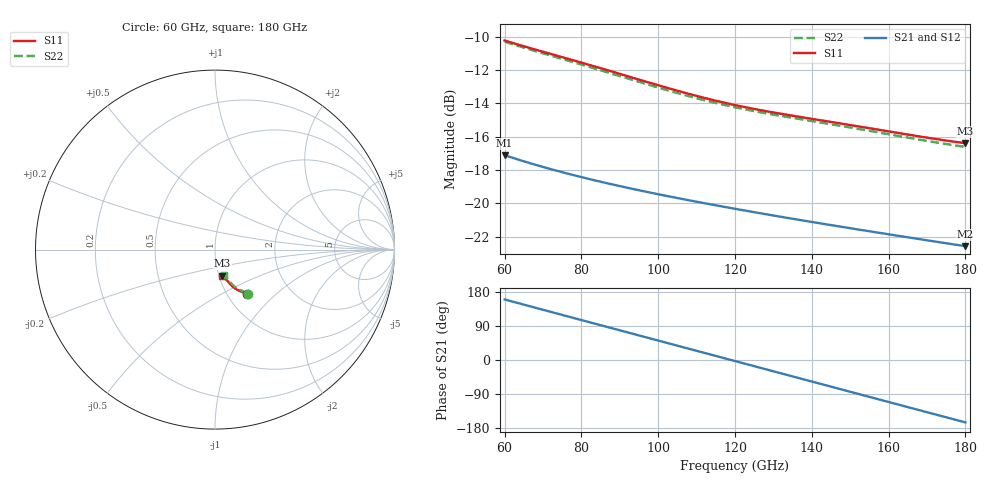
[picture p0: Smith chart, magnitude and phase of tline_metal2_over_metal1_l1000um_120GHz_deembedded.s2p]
! Created with skrf 2.2.0 (http://scikit-rf.org).
# GHz S DB R 50.0
! Port[1] = P1
! Port[2] = P2
!freq dBS11 angS11 dBS21 angS21 dBS12 angS12 dBS22 angS22
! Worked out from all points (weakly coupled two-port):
!   101 points, 60 GHz to 180 GHz, reference 50 ohm
!   highest |S21| = -17.11 dB at 60 GHz (marker M1); lowest = -22.6 dB at 180 GHz (marker M2)
!   lowest |S11| = -16.4 dB at 180 GHz (marker M3), VSWR 1.36, Z = 52 - j15.5 ohm
!   |S11| at or under -10 dB: start of sweep to end of sweep
!   |S22| runs from -16.6 to -10.3 dB; largest |S21 - S12| = 1.5e-13
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60  -10.23 -54.0  -17.11 159.8  -17.11 159.8  -10.30 -53.4
66  -10.64 -55.6  -17.55 143.4  -17.55 143.4  -10.73 -54.9
70.8  -10.96 -57.0  -17.87 130.4  -17.87 130.4  -11.06 -56.1
75.6  -11.27 -58.4  -18.16 117.3  -18.16 117.3  -11.38 -57.5
80.4  -11.58 -59.9  -18.44 104.3  -18.44 104.3  -11.70 -58.8
85.2  -11.91 -61.3  -18.71 91.3  -18.71 91.3  -12.03 -60.0
90  -12.23 -62.5  -18.96 78.3  -18.96 78.3  -12.37 -61.2
94.8  -12.56 -63.7  -19.20 65.4  -19.20 65.4  -12.70 -62.2
100.8  -12.97 -64.9  -19.49 49.1  -19.49 49.1  -13.11 -63.3
105.6  -13.28 -65.7  -19.71 36.2  -19.71 36.2  -13.42 -63.9
110.4  -13.58 -66.4  -19.92 23.2  -19.92 23.2  -13.72 -64.4
115.2  -13.85 -66.9  -20.12 10.2  -20.12 10.2  -13.99 -64.9
120  -14.10 -67.4  -20.32 -2.8  -20.32 -2.8  -14.23 -65.2
129.6  -14.53 -68.3  -20.71 -28.7  -20.71 -28.7  -14.66 -66.0
135.6  -14.76 -69.0  -20.94 -44.9  -20.94 -44.9  -14.90 -66.6
140.4  -14.94 -69.6  -21.13 -57.9  -21.13 -57.9  -15.08 -67.2
145.2  -15.12 -70.2  -21.31 -70.8  -21.31 -70.8  -15.26 -67.8
150  -15.30 -70.9  -21.49 -83.8  -21.49 -83.8  -15.45 -68.4
154.8  -15.48 -71.6  -21.66 -96.8  -21.66 -96.8  -15.64 -69.0
160.8  -15.71 -72.3  -21.88 -112.9  -21.88 -112.9  -15.88 -69.6
170.4  -16.07 -73.3  -22.23 -138.8  -22.23 -138.8  -16.27 -70.4
180  -16.39 -74.0  -22.56 -164.6  -22.56 -164.6  -16.61 -70.9
